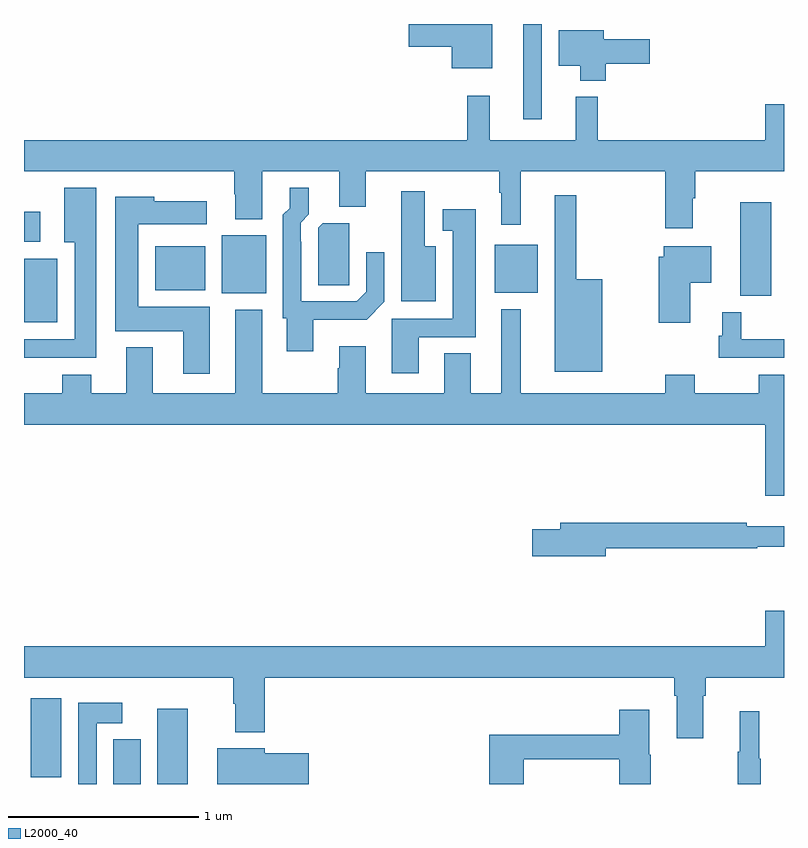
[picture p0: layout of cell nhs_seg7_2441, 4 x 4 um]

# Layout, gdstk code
import gdstk
lib = gdstk.Library(unit=1e-6, precision=1e-09)
def R(c, l, rs):  # rectangles x0, y0, x1, y1
    for r in rs: c.add(gdstk.rectangle(r[:2], r[2:], *l))
def P(c, l, *ps):  # polygons
    for p in ps: c.add(gdstk.Polygon(p, *l))
L2000_40 = (2000, 40)

nhs_seg7_2441 = lib.new_cell('nhs_seg7_2441')
R(nhs_seg7_2441, L2000_40, [(269.471,1056,269.614,1056.235), (269.702,1056,269.863,1056.397), (269.036,1056.035,269.197,1056.451), (269,1058.429,269.176,1058.764), (272.771,1058.571,272.932,1059.061), (270.041,1058.582,270.274,1058.887), (271.478,1058.585,271.705,1058.839), (269.69,1058.6,269.953,1058.83), (269,1058.853,269.086,1059.013), (271.628,1059.498,271.725,1060)])
P(nhs_seg7_2441, L2000_40, [(271.465,1060),(271.026,1060),(271.026,1059.881),(271.25,1059.881),(271.25,1059.767),(271.465,1059.767)],
  [(272.063,1059.79),(272.293,1059.79),(272.293,1059.919),(272.05,1059.919),(272.05,1059.967),(271.814,1059.967),(271.814,1059.779),(271.928,1059.779),(271.928,1059.701),(272.063,1059.701)],
  [(272.521,1059.083),(272.534,1059.083),(272.534,1059.224),(273,1059.224),(273,1059.577),(272.9,1059.577),(272.9,1059.388),(272.021,1059.388),(272.021,1059.616),(271.904,1059.616),(271.904,1059.388),(271.451,1059.388),(271.451,1059.622),(271.333,1059.622),(271.333,1059.388),(269,1059.388),(269,1059.224),(270.106,1059.224),(270.106,1059.104),(270.113,1059.104),(270.113,1058.972),(270.253,1058.972),(270.253,1059.224),(270.659,1059.224),(270.659,1059.037),(270.799,1059.037),(270.799,1059.224),(271.501,1059.224),(271.501,1059.112),(271.511,1059.112),(271.511,1058.943),(271.615,1058.943),(271.615,1059.224),(272.374,1059.224),(272.374,1058.925),(272.521,1058.925)],
  [(270.523,1058.444),(270.803,1058.444),(270.897,1058.538),(270.897,1058.8),(270.801,1058.8),(270.801,1058.592),(270.75,1058.541),(270.459,1058.541),(270.459,1058.855),(270.456,1058.855),(270.456,1058.955),(270.499,1058.998),(270.499,1059.139),(270.398,1059.139),(270.398,1059.03),(270.363,1058.995),(270.363,1058.451),(270.383,1058.451),(270.383,1058.277),(270.523,1058.277)],
  [(269.38,1059.139),(269.213,1059.139),(269.213,1058.852),(269.267,1058.852),(269.267,1058.34),(269,1058.34),(269,1058.243),(269.38,1058.243)],
  [(271.168,1058.83),(271.108,1058.83),(271.108,1059.121),(270.986,1059.121),(270.986,1058.54),(271.168,1058.54)],
  [(272.044,1058.656),(271.907,1058.656),(271.907,1059.1),(271.793,1059.1),(271.793,1058.171),(272.044,1058.171)],
  [(269.977,1058.512),(269.602,1058.512),(269.602,1058.945),(269.962,1058.945),(269.962,1059.067),(269.685,1059.067),(269.685,1059.091),(269.48,1059.091),(269.48,1058.384),(269.837,1058.384),(269.837,1058.16),(269.977,1058.16)],
  [(271.078,1058.352),(271.378,1058.352),(271.378,1059.025),(271.203,1059.025),(271.203,1058.912),(271.256,1058.912),(271.256,1058.448),(270.935,1058.448),(270.935,1058.163),(271.078,1058.163)],
  [(270.711,1058.737),(270.712,1058.737),(270.712,1058.952),(270.573,1058.952),(270.549,1058.928),(270.549,1058.626),(270.711,1058.626)],
  [(272.506,1058.639),(272.617,1058.639),(272.617,1058.83),(272.366,1058.83),(272.366,1058.775),(272.341,1058.775),(272.341,1058.427),(272.506,1058.427)],
  [(273,1058.155),(272.866,1058.155),(272.866,1058.056),(272.529,1058.056),(272.529,1058.155),(272.374,1058.155),(272.374,1058.056),(271.615,1058.056),(271.615,1058.5),(271.511,1058.5),(271.511,1058.056),(271.351,1058.056),(271.351,1058.267),(271.211,1058.267),(271.211,1058.056),(270.799,1058.056),(270.799,1058.305),(270.659,1058.305),(270.659,1058.189),(270.652,1058.189),(270.652,1058.056),(270.253,1058.056),(270.253,1058.497),(270.113,1058.497),(270.113,1058.056),(269.677,1058.056),(269.677,1058.299),(269.537,1058.299),(269.537,1058.056),(269.353,1058.056),(269.353,1058.155),(269.201,1058.155),(269.201,1058.056),(269,1058.056),(269,1057.892),(272.9,1057.892),(272.9,1057.518),(273,1057.518)],
  [(273,1058.34),(272.775,1058.34),(272.775,1058.482),(272.675,1058.482),(272.675,1058.358),(272.656,1058.358),(272.656,1058.244),(273,1058.244)],
  [(272.062,1057.24),(272.858,1057.24),(272.858,1057.248),(273,1057.248),(273,1057.357),(272.804,1057.357),(272.804,1057.376),(271.823,1057.376),(271.823,1057.34),(271.674,1057.34),(271.674,1057.198),(272.062,1057.198)],
  [(272.575,1056.464),(272.588,1056.464),(272.588,1056.56),(273,1056.56),(273,1056.913),(272.9,1056.913),(272.9,1056.724),(269,1056.724),(269,1056.56),(270.101,1056.56),(270.101,1056.422),(270.113,1056.422),(270.113,1056.272),(270.266,1056.272),(270.266,1056.56),(272.423,1056.56),(272.423,1056.464),(272.435,1056.464),(272.435,1056.24),(272.575,1056.24)],
  [(269.382,1056.32),(269.518,1056.32),(269.518,1056.427),(269.286,1056.427),(269.286,1056),(269.382,1056)],
  [(271.631,1056.13),(272.132,1056.13),(272.132,1056),(272.298,1056),(272.298,1056.153),(272.29,1056.153),(272.29,1056.391),(272.132,1056.391),(272.132,1056.259),(271.448,1056.259),(271.448,1056),(271.631,1056)],
  [(272.878,1056.132),(272.87,1056.132),(272.87,1056.382),(272.768,1056.382),(272.768,1056.169),(272.757,1056.169),(272.757,1056),(272.878,1056)],
  [(270.499,1056.162),(270.268,1056.162),(270.268,1056.187),(270.017,1056.187),(270.017,1056),(270.499,1056)])

lib.write_gds('nhs_seg7_2441.gds')
